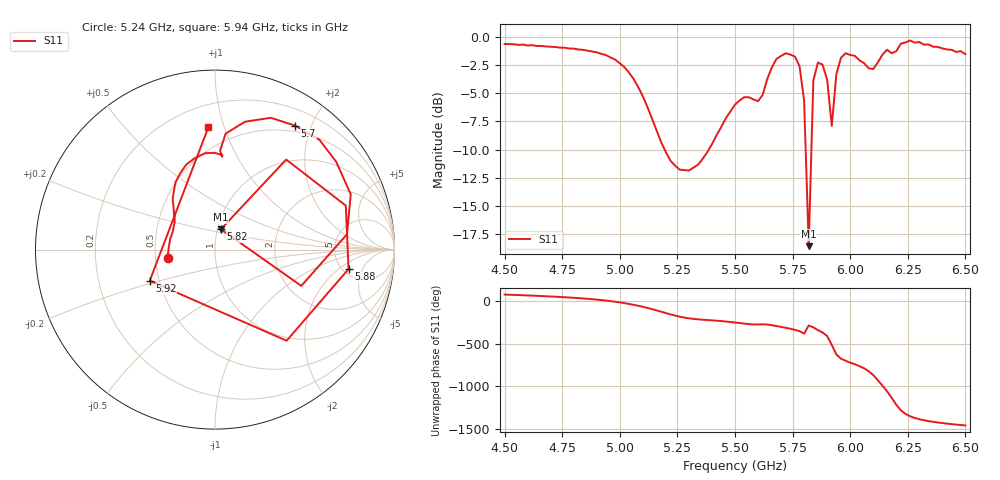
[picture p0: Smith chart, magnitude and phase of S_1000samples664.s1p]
! TOUCHSTONE file generated by CST MICROWAVE STUDIO
! Date and time: Fri Oct 28 23:08:07 2022
! Project name: L.cst
! Parameters = {Di=1.27; Epsilon_r=1.56; InnerDiameter=1.27; Length=2; Lf=10; Lg=60; OuterConductorThickness=0.2921; OuterDiameter=3.6; Wf=3; Wp=41.2; de=1.5; df=6.8; g=0.8; gx=4.68658; gy=1.34188; h=2.34; hf=1.524; px=11.4898; py=14.0973; w=9.7; wx=6.80326; wy=12.7554}
! Header version: 2018
! Port assignment regex: !\s*Touchstone port\s*([0-9]+)\s*=\s*(CST MWS port|CST DS port)\s*([0-9]+|Zmin|Zmax)\s*\(\"(.*)\"\)(\s*mode\s*([0-9]+))?.*
! Touchstone port assignment:
! Touchstone port 1 = CST MWS port 1 ("")
# GHz S DB R 50
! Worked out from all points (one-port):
!   101 points, 4.5 GHz to 6.5 GHz, reference 50 ohm
!   lowest |S11| = -18.6 dB at 5.82 GHz (marker M1), VSWR 1.27, Z = 52 + j12 ohm
!   |S11| at or under -10 dB: 5.195 GHz to 5.386 GHz (191.4 MHz wide, 3.62 % of centre); 5.806737 GHz to 5.831659 GHz (24.92 MHz wide, 0.428 % of centre)
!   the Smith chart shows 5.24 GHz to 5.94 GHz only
!   S11 on the Smith chart (normalised r, x): 5.24 GHz: 0.58, -0.06; 5.7 GHz: 0.41, +1.76; 5.82 GHz: 1.04, +0.24; 5.88 GHz: 5.62, -2.81; 5.92 GHz: 0.44, -0.18; 5.94 GHz: 0.35, +0.89
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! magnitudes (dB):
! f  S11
! 4.5 GHz  -0.6
! 4.76 GHz  -1.0
! 5 GHz  -2.4
! 5.08 GHz  -4.5
! 5.18 GHz  -9.4
! 5.24 GHz  -11.4
! 5.26 GHz  -11.8
! 5.34 GHz  -11.3
! 5.5 GHz  -6.0
! 5.6 GHz  -5.7
! 5.66 GHz  -2.7
! 5.7 GHz  -1.7
! 5.76 GHz  -1.8
! 5.78 GHz  -2.6
! 5.8 GHz  -5.7
! 5.82 GHz  -18.6
! 5.84 GHz  -3.9
! 5.86 GHz  -2.3
! 5.88 GHz  -2.5
! 5.9 GHz  -3.8
! 5.92 GHz  -7.9
! 5.94 GHz  -3.3
! 5.96 GHz  -1.9
! 6 GHz  -1.6
! 6.1 GHz  -2.9
! 6.16 GHz  -1.2
! 6.26 GHz  -0.3
! 6.5 GHz  -1.5
